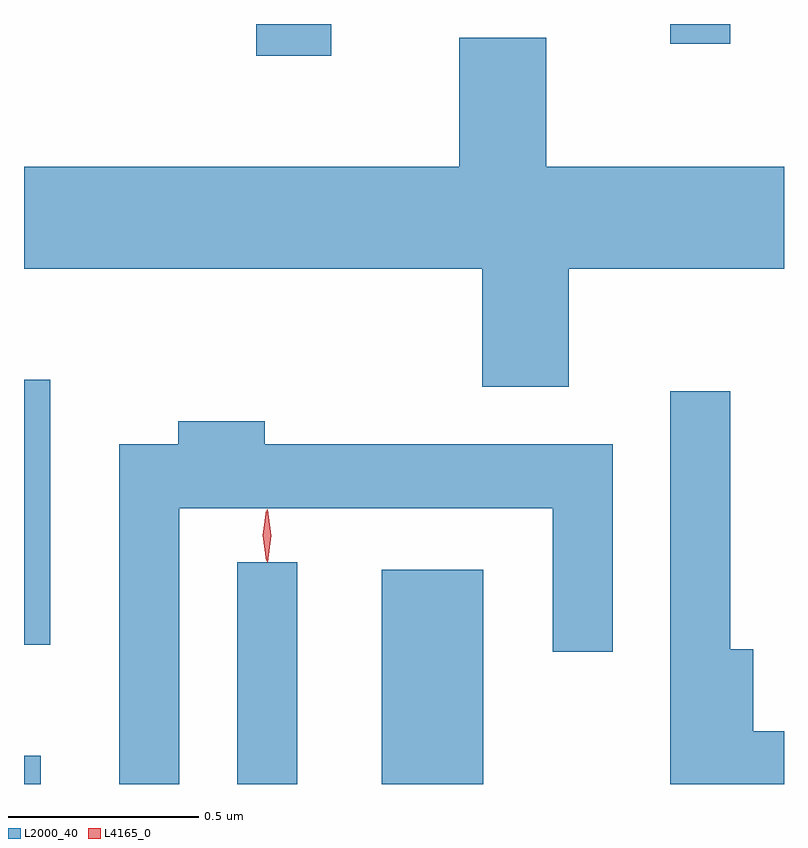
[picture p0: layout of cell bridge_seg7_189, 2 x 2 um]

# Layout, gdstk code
import gdstk
lib = gdstk.Library(unit=1e-6, precision=1e-09)
def R(c, l, rs):  # rectangles x0, y0, x1, y1
    for r in rs: c.add(gdstk.rectangle(r[:2], r[2:], *l))
def P(c, l, *ps):  # polygons
    for p in ps: c.add(gdstk.Polygon(p, *l))
L2000_40 = (2000, 40)
L4165_0 = (4165, 0)

bridge_seg7_189 = lib.new_cell('bridge_seg7_189')
R(bridge_seg7_189, L2000_40, [(1481.935,1701.86,1481.979,1701.934), (1482.496,1701.86,1482.654,1702.443), (1482.876,1701.86,1483.144,1702.424), (1481.935,1702.226,1482.004,1702.924), (1482.546,1703.776,1482.744,1703.86), (1483.636,1703.808,1483.794,1703.86)])
P(bridge_seg7_189, L2000_40, [(1483.369,1703.216),(1483.935,1703.216),(1483.935,1703.484),(1483.309,1703.484),(1483.309,1703.824),(1483.081,1703.824),(1483.081,1703.484),(1481.935,1703.484),(1481.935,1703.216),(1483.141,1703.216),(1483.141,1702.906),(1483.369,1702.906)],
  [(1483.935,1701.999),(1483.854,1701.999),(1483.854,1702.214),(1483.794,1702.214),(1483.794,1702.893),(1483.636,1702.893),(1483.636,1701.86),(1483.935,1701.86)],
  [(1482.344,1702.586),(1483.326,1702.586),(1483.326,1702.208),(1483.484,1702.208),(1483.484,1702.754),(1482.569,1702.754),(1482.569,1702.814),(1482.341,1702.814),(1482.341,1702.754),(1482.186,1702.754),(1482.186,1701.86),(1482.344,1701.86)])
P(bridge_seg7_189, L4165_0, [(1482.572,1702.447),(1482.563,1702.514),(1482.572,1702.58),(1482.573,1702.581),(1482.573,1702.58),(1482.583,1702.514),(1482.573,1702.447),(1482.573,1702.447)],
  [(1482.575,1702.444),(1482.575,1702.444),(1482.565,1702.513),(1482.575,1702.582),(1482.575,1702.583),(1482.576,1702.582),(1482.585,1702.513),(1482.576,1702.444)])

lib.write_gds('bridge_seg7_189.gds')
